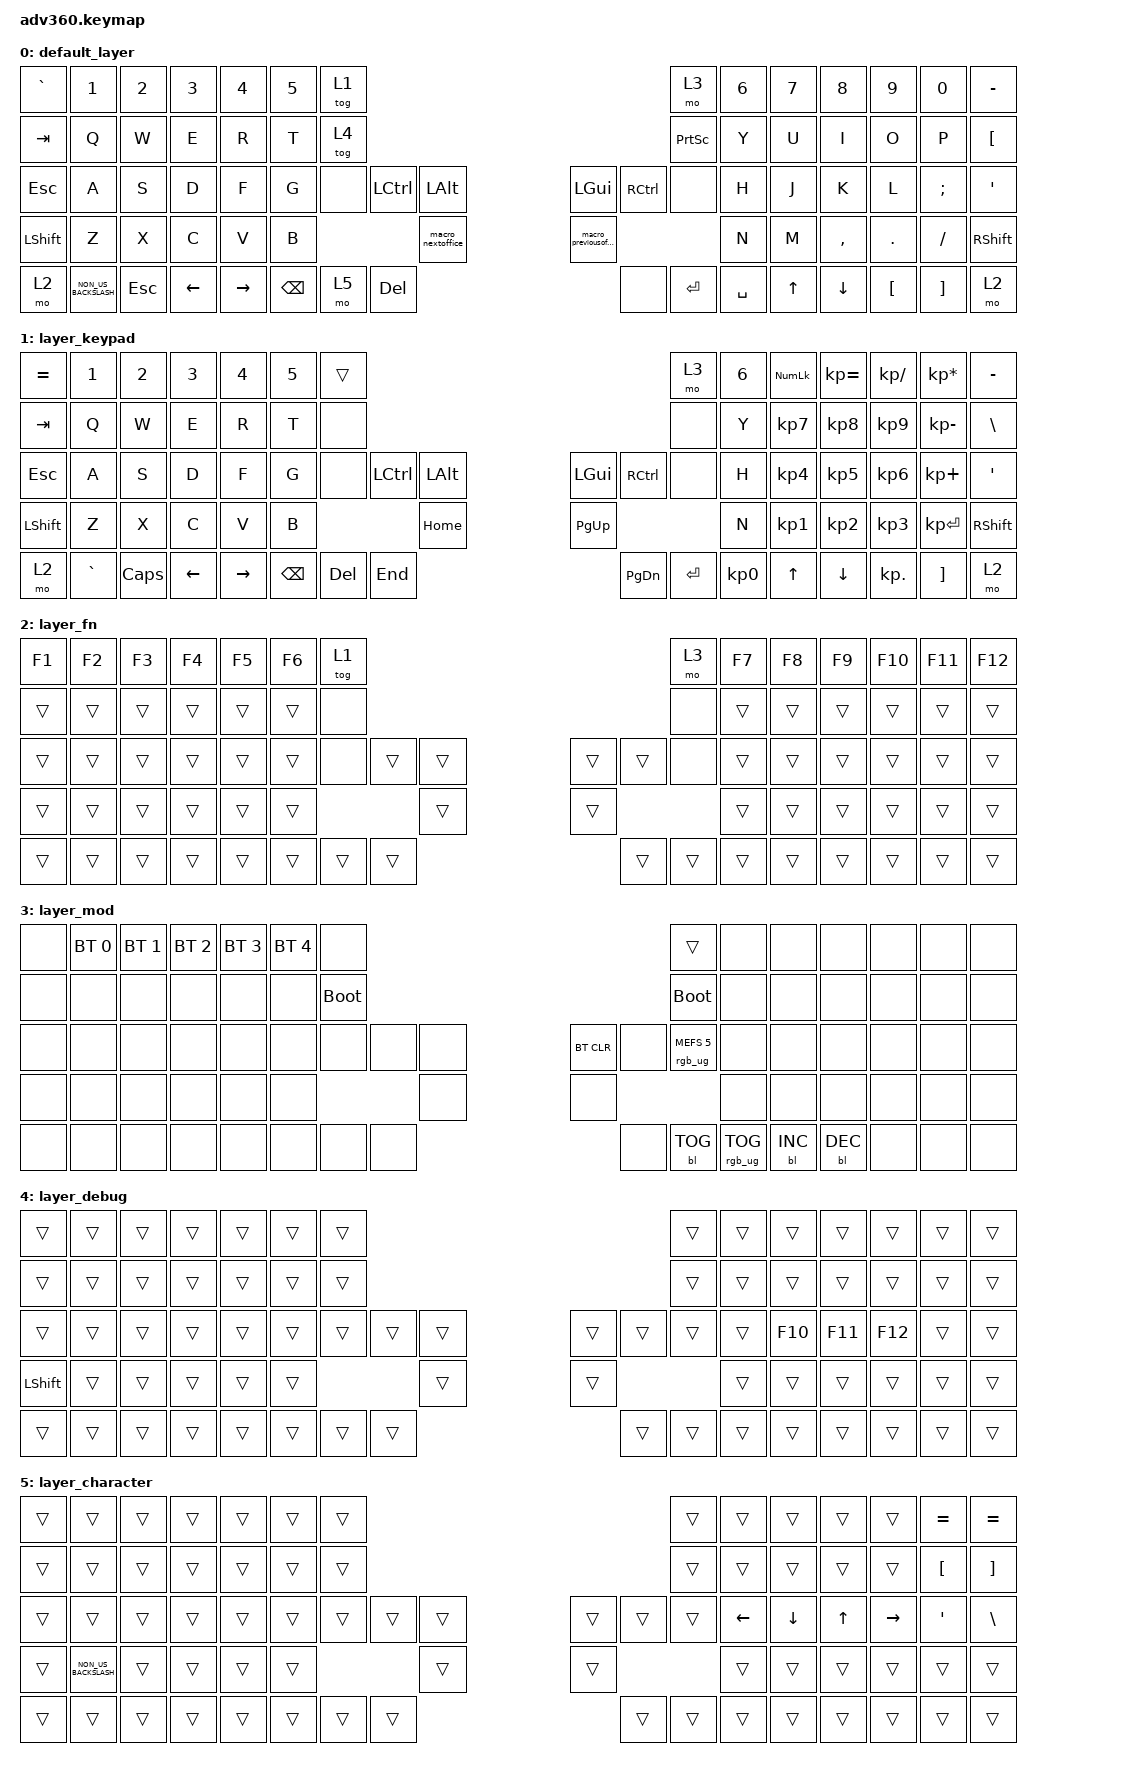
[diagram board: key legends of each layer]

/*
 * Copyright (c) 2020 The ZMK Contributors
 *
 * SPDX-License-Identifier: MIT
 */


/* THIS FILE WAS GENERATED!
 *
 * This file was generated automatically. You may or may not want to
 * edit it directly.
 */

#include <behaviors.dtsi>
#include <dt-bindings/zmk/keys.h>
#include <dt-bindings/zmk/bt.h>
#include <dt-bindings/zmk/rgb.h>
#include <dt-bindings/zmk/backlight.h>

/ {
  behaviors {
    #include "macros.dtsi"
    #include "version.dtsi"

    hm: homerow_mods {
        compatible = "zmk,behavior-hold-tap";
        label = "HOMEROW_MODS";
        #binding-cells = <2>;
        tapping-term-ms = <200>;
        quick_tap_ms = <175>;
        flavor = "tap-preferred";
        bindings = <&kp>, <&kp>;
    };
  };

    keymap {
        compatible = "zmk,keymap";


        default_layer {
            bindings = <
 &kp GRAVE                &kp N1   &kp N2    &kp N3     &kp N4  &kp N5              &tog 1                                                                                            &mo 3  &kp N6  &kp N7     &kp N8    &kp N9    &kp N0  &kp MINUS
   &kp TAB                 &kp Q    &kp W     &kp E      &kp R   &kp T              &tog 4                                                                                  &kp PRINTSCREEN   &kp Y   &kp U      &kp I     &kp O     &kp P   &kp LBKT
   &kp ESC                 &kp A    &kp S     &kp D      &kp F   &kp G               &none  &kp LCTRL           &kp LALT                               &kp LGUI  &kp RCTRL            &none   &kp H   &kp J      &kp K     &kp L  &kp SEMI    &kp SQT
 &kp LSHFT                 &kp Z    &kp X     &kp C      &kp V   &kp B                                 &macro_nextoffice                  &macro_previousoffice                               &kp N   &kp M  &kp COMMA   &kp DOT  &kp FSLH  &kp RSHFT
     &mo 2  &kp NON_US_BACKSLASH  &kp ESC  &kp LEFT  &kp RIGHT                    &kp BSPC      &mo 5         &kp DELETE                                  &none  &kp ENTER        &kp SPACE          &kp UP   &kp DOWN  &kp LBKT  &kp RBKT      &mo 2
            >;
        };

        layer_keypad {
            bindings = <
 &kp EQUAL     &kp N1    &kp N2    &kp N3     &kp N4  &kp N5              &trans                                                                 &mo 3  &kp N6  &kp KP_NUM  &kp KP_EQUAL  &kp KP_DIVIDE  &kp KP_MULTIPLY  &kp MINUS
   &kp TAB      &kp Q     &kp W     &kp E      &kp R   &kp T               &none                                                                 &none   &kp Y   &kp KP_N7     &kp KP_N8      &kp KP_N9     &kp KP_MINUS   &kp BSLH
   &kp ESC      &kp A     &kp S     &kp D      &kp F   &kp G               &none  &kp LCTRL  &kp LALT                   &kp LGUI  &kp RCTRL      &none   &kp H   &kp KP_N4     &kp KP_N5      &kp KP_N6      &kp KP_PLUS    &kp SQT
 &kp LSHFT      &kp Z     &kp X     &kp C      &kp V   &kp B                                 &kp HOME                  &kp PG_UP                         &kp N   &kp KP_N1     &kp KP_N2      &kp KP_N3     &kp KP_ENTER  &kp RSHFT
     &mo 2  &kp GRAVE  &kp CAPS  &kp LEFT  &kp RIGHT                    &kp BSPC    &kp DEL   &kp END                  &kp PG_DN  &kp ENTER  &kp KP_N0              &kp UP      &kp DOWN     &kp KP_DOT         &kp RBKT      &mo 2
            >;
        };

        layer_fn {
            bindings = <
 &kp F1  &kp F2  &kp F3  &kp F4  &kp F5  &kp F6            &tog 1                                                   &mo 3  &kp F7  &kp F8  &kp F9  &kp F10  &kp F11  &kp F12
 &trans  &trans  &trans  &trans  &trans  &trans             &none                                                   &none  &trans  &trans  &trans   &trans   &trans   &trans
 &trans  &trans  &trans  &trans  &trans  &trans             &none  &trans  &trans                  &trans  &trans   &none  &trans  &trans  &trans   &trans   &trans   &trans
 &trans  &trans  &trans  &trans  &trans  &trans                            &trans                  &trans                  &trans  &trans  &trans   &trans   &trans   &trans
 &trans  &trans  &trans  &trans  &trans                    &trans  &trans  &trans                  &trans  &trans  &trans          &trans  &trans   &trans   &trans   &trans
            >;
        };

        layer_mod {
            bindings = <
  &none  &bt BT_SEL 0  &bt BT_SEL 1  &bt BT_SEL 2  &bt BT_SEL 3  &bt BT_SEL 4                  &none                                                                          &trans   &none       &none       &none   &none   &none   &none
  &none         &none         &none         &none         &none         &none            &bootloader                                                                     &bootloader   &none       &none       &none   &none   &none   &none
  &none         &none         &none         &none         &none         &none                  &none   &none   &none                  &bt BT_CLR       &none  &rgb_ug RGB_MEFS_CMD 5   &none       &none       &none   &none   &none   &none
  &none         &none         &none         &none         &none         &none                                  &none                       &none                                       &none       &none       &none   &none   &none   &none
  &none         &none         &none         &none         &none                                &none   &none   &none                       &none  &bl BL_TOG         &rgb_ug RGB_TOG          &bl BL_INC  &bl BL_DEC   &none   &none   &none
            >;
        };

        layer_debug {
            bindings = <
         &trans  &trans  &trans  &trans  &trans  &trans            &trans                                                  &trans  &trans   &trans   &trans   &trans  &trans  &trans
         &trans  &trans  &trans  &trans  &trans  &trans            &trans                                                  &trans  &trans   &trans   &trans   &trans  &trans  &trans
         &trans  &trans  &trans  &trans  &trans  &trans            &trans  &trans  &trans                  &trans  &trans  &trans  &trans  &kp F10  &kp F11  &kp F12  &trans  &trans
 &kp LEFT_SHIFT  &trans  &trans  &trans  &trans  &trans                            &trans                  &trans                  &trans   &trans   &trans   &trans  &trans  &trans
         &trans  &trans  &trans  &trans  &trans                    &trans  &trans  &trans                  &trans  &trans  &trans           &trans   &trans   &trans  &trans  &trans
            >;
        };

        layer_character {
            bindings = <
 &trans                &trans  &trans  &trans  &trans  &trans            &trans                                                  &trans          &trans          &trans        &trans           &trans  &kp EQUAL  &kp EQUAL
 &trans                &trans  &trans  &trans  &trans  &trans            &trans                                                  &trans          &trans          &trans        &trans           &trans   &kp LBKT   &kp RBKT
 &trans                &trans  &trans  &trans  &trans  &trans            &trans  &trans  &trans                  &trans  &trans  &trans  &kp LEFT_ARROW  &kp DOWN_ARROW  &kp UP_ARROW  &kp RIGHT_ARROW    &kp SQT   &kp BSLH
 &trans  &kp NON_US_BACKSLASH  &trans  &trans  &trans  &trans                            &trans                  &trans                          &trans          &trans        &trans           &trans     &trans     &trans
 &trans                &trans  &trans  &trans  &trans                    &trans  &trans  &trans                  &trans  &trans  &trans                          &trans        &trans           &trans     &trans     &trans
            >;
        };

    };
};
